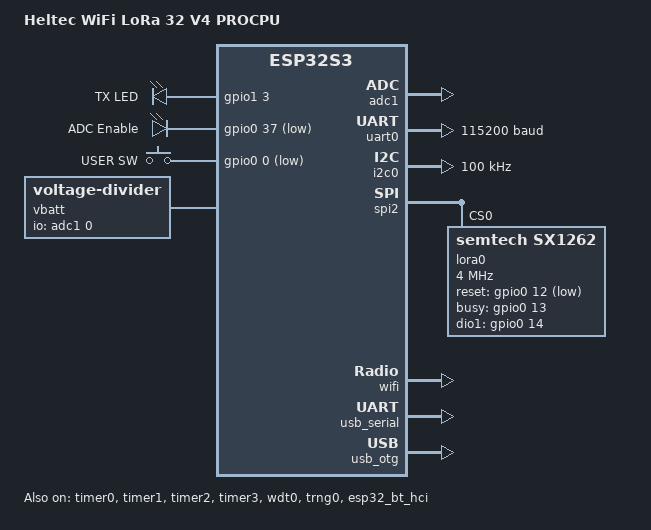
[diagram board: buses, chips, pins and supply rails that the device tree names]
/*
 * SPDX-FileCopyrightText: Copyright The Zephyr Project Contributors
 *
 * SPDX-License-Identifier: Apache-2.0
 */
/dts-v1/;

#include <espressif/esp32s3/esp32s3_r2.dtsi>
#include "heltec_wifi_lora32_v4-pinctrl.dtsi"
#include <espressif/partitions_0x0_amp_16M.dtsi>
#include <zephyr/dt-bindings/input/input-event-codes.h>
#include <zephyr/dt-bindings/lora/sx126x.h>

/ {
	model = "Heltec WiFi LoRa 32 V4 PROCPU";
	compatible = "espressif,esp32s3";

	aliases {
		uart-0 = &uart0;
		i2c-0 = &i2c0;
		lora0 = &lora0;
		led0 = &led0;
		sw0 = &button0;
		watchdog0 = &wdt0;
	};

	leds {
		compatible = "gpio-leds";

		led0: led {
			gpios = <&gpio1 3 GPIO_ACTIVE_HIGH>;  /* GPIO 35 */
			label = "TX LED";
		};
/*
		vext: vext {
			gpios = <&gpio0 36 GPIO_ACTIVE_LOW>;
			label = "VEXT";
		};
		oledrst: oledrst {
			gpios = <&gpio0 21 (GPIO_PULL_UP | GPIO_ACTIVE_LOW)>;
			label = "OLED Reset";
		};
*/

		adcen: adcen {
			gpios = <&gpio0 37 (GPIO_PULL_UP | GPIO_ACTIVE_LOW)>;
			label = "ADC Enable";
		};
	};

	buttons {
		compatible = "gpio-keys";

		button0: button_0 {
			gpios = <&gpio0 0 (GPIO_PULL_UP | GPIO_ACTIVE_LOW)>;
			label = "USER SW";
			zephyr,code = <INPUT_KEY_0>;
		};
	};

	vbatt {
		compatible = "voltage-divider";
		io-channels = <&adc1 0>;
		output-ohms = <100000>;
		full-ohms = <(100000 + 390000)>;
	};

	chosen {
		zephyr,sram = &sram1;
		zephyr,console = &usb_serial;
		zephyr,shell-uart = &usb_serial;
		zephyr,flash = &flash0;
		zephyr,code-partition = &slot0_partition;
		zephyr,bt-hci = &esp32_bt_hci;
	};
};

&flash0 {
	reg = <0x0 DT_SIZE_M(16)>;
};

&adc1 {
	status = "okay";
};

&uart0 {
	status = "okay";
	current-speed = <115200>;
	pinctrl-0 = <&uart0_default>;
	pinctrl-names = "default";
};

&gpio0 {
	status = "okay";

};

&gpio1 {
	status = "okay";
};

&i2c0 {
	status = "okay";
	clock-frequency = <I2C_BITRATE_STANDARD>;
	pinctrl-0 = <&i2c0_default>;
	pinctrl-names = "default";
};

&spi2 {
	#address-cells = <1>;
	#size-cells = <0>;
	status = "okay";
	pinctrl-0 = <&spim2_default>;
	pinctrl-names = "default";

	lora0: lora@0 {
		compatible = "semtech,sx1262";
		reg = <0>;
		reset-gpios = <&gpio0 12 (GPIO_OPEN_DRAIN | GPIO_ACTIVE_LOW)>;
		busy-gpios = <&gpio0 13 GPIO_ACTIVE_HIGH>;
		dio1-gpios = <&gpio0 14 GPIO_ACTIVE_HIGH>;
		dio2-tx-enable;
		dio3-tcxo-voltage = <SX126X_DIO3_TCXO_1V8>;
		tcxo-power-startup-delay-ms = <5>;
		spi-max-frequency = <4000000>;
	};
};

&spi3 {
	#address-cells = <1>;
	#size-cells = <0>;
	cs-gpios = <&gpio0 32 GPIO_ACTIVE_LOW>;
	pinctrl-0 = <&spim3_default>;
	pinctrl-names = "default";
	status = "disabled";

	w25q128: w25q128@0 {
		compatible = "jedec,spi-nor";
		size = <DT_SIZE_M(128)>;
		reg = <0>;
		spi-max-frequency = <10000000>;
		jedec-id = [ef 40 18];
		wp-gpios = <&gpio0 31 GPIO_ACTIVE_LOW>;
		hold-gpios = <&gpio0 30 GPIO_ACTIVE_LOW>;
		status = "okay";
	};
};

&twai {
	pinctrl-0 = <&twai_default>;
	pinctrl-names = "default";
};

&timer0 {
	status = "okay";
};

&timer1 {
	status = "okay";
};

&timer2 {
	status = "okay";
};

&timer3 {
	status = "okay";
};

&wdt0 {
	status = "okay";
};

&trng0 {
	status = "okay";
};

&esp32_bt_hci {
	status = "okay";
};

&wifi {
	status = "okay";
};

&usb_serial {
	status = "okay";
};

&usb_otg {
	status = "okay";
};

&lora0 {
	status = "okay";
};

/* Required by the ssd1306_128x64 shield which enables the OLED display */
arduino_i2c: &i2c0 {};
